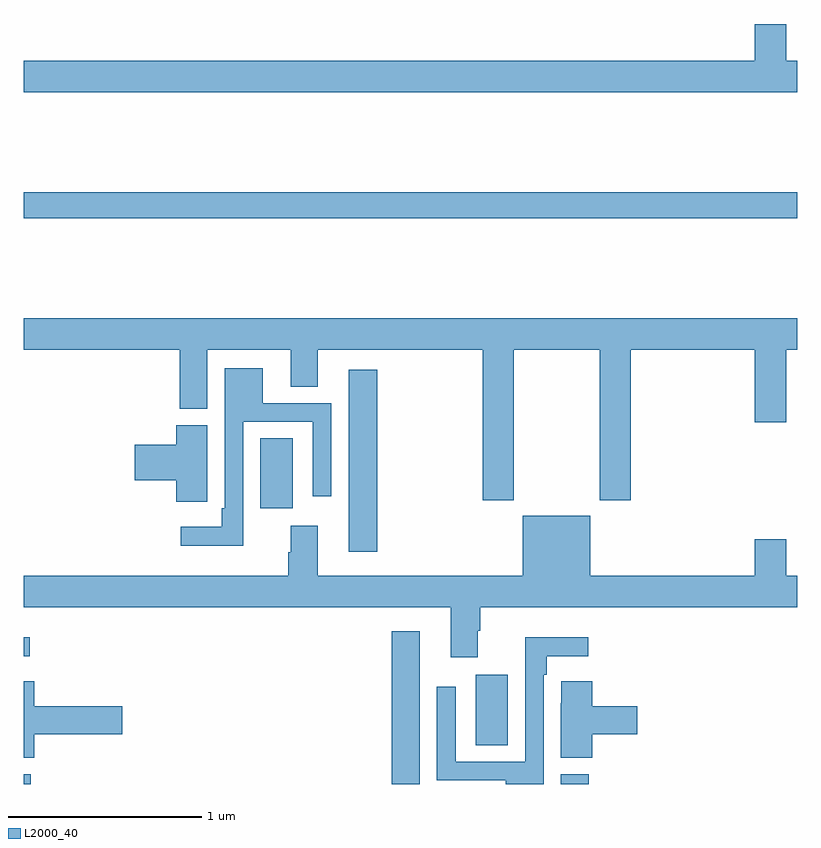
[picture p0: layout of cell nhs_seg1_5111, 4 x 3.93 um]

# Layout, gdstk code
import gdstk
lib = gdstk.Library(unit=1e-6, precision=1e-09)
def R(c, l, rs):  # rectangles x0, y0, x1, y1
    for r in rs: c.add(gdstk.rectangle(r[:2], r[2:], *l))
def P(c, l, *ps):  # polygons
    for p in ps: c.add(gdstk.Polygon(p, *l))
L2000_40 = (2000, 40)

nhs_seg1_5111 = lib.new_cell('nhs_seg1_5111')
R(nhs_seg1_5111, L2000_40, [(389,504.199,389.036,504.249), (390.902,504.199,391.048,504.988), (391.778,504.199,391.922,504.249), (391.337,504.4,391.504,504.763), (389,504.86,389.032,504.958), (390.68,505.401,390.827,506.341), (390.224,505.626,390.391,505.988), (389,507.124,393,507.26)])
P(nhs_seg1_5111, L2000_40, [(393,507.94),(392.944,507.94),(392.944,508.129),(392.78,508.129),(392.78,507.94),(389,507.94),(389,507.776),(393,507.776)],
  [(391.533,506.444),(391.978,506.444),(391.978,505.665),(392.138,505.665),(392.138,506.444),(392.78,506.444),(392.78,506.07),(392.944,506.07),(392.944,506.444),(393,506.444),(393,506.608),(389,506.608),(389,506.444),(389.807,506.444),(389.807,506.14),(389.95,506.14),(389.95,506.444),(390.38,506.444),(390.38,506.254),(390.52,506.254),(390.52,506.444),(391.373,506.444),(391.373,505.665),(391.533,505.665)],
  [(390.135,506.073),(390.495,506.073),(390.495,505.686),(390.591,505.686),(390.591,506.169),(390.235,506.169),(390.235,506.35),(390.039,506.35),(390.039,505.624),(390.023,505.624),(390.023,505.528),(389.811,505.528),(389.811,505.43),(390.135,505.43)],
  [(389.949,505.771),(389.95,505.771),(389.95,506.055),(389.789,506.055),(389.789,505.952),(389.574,505.952),(389.574,505.769),(389.789,505.769),(389.789,505.659),(389.949,505.659)],
  [(393,505.276),(392.944,505.276),(392.944,505.465),(392.78,505.465),(392.78,505.276),(391.93,505.276),(391.93,505.585),(391.58,505.585),(391.58,505.276),(390.52,505.276),(390.52,505.534),(390.38,505.534),(390.38,505.397),(390.368,505.397),(390.368,505.276),(389,505.276),(389,505.112),(391.208,505.112),(391.208,504.855),(391.348,504.855),(391.348,504.992),(391.361,504.992),(391.361,505.112),(393,505.112)],
  [(391.689,504.764),(391.705,504.764),(391.705,504.86),(391.918,504.86),(391.918,504.958),(391.593,504.958),(391.593,504.315),(391.233,504.315),(391.233,504.703),(391.137,504.703),(391.137,504.219),(391.493,504.219),(391.493,504.199),(391.689,504.199)],
  [(389.054,504.455),(389.509,504.455),(389.509,504.602),(389.054,504.602),(389.054,504.73),(389,504.73),(389,504.334),(389.054,504.334)],
  [(391.94,504.455),(392.173,504.455),(392.173,504.602),(391.94,504.602),(391.94,504.73),(391.779,504.73),(391.779,504.617),(391.778,504.617),(391.778,504.334),(391.94,504.334)])

lib.write_gds('nhs_seg1_5111.gds')
